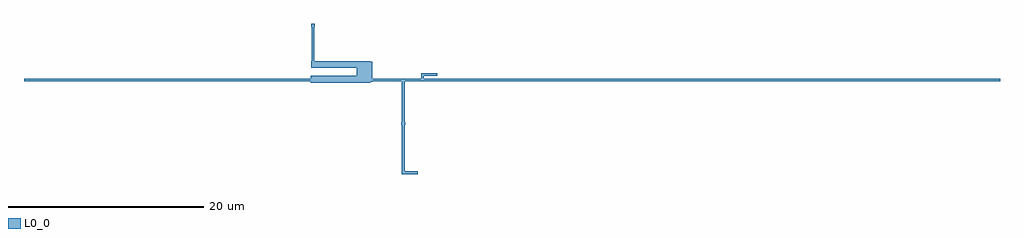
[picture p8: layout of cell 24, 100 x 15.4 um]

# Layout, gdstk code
import gdstk
lib = gdstk.Library(unit=1e-6, precision=1e-09)
def P(c, l, *ps):  # polygons
    for p in ps: c.add(gdstk.Polygon(p, *l))
L0_0 = (0, 0)

c_24 = lib.new_cell('24')
P(c_24, L0_0, [(938.66,988.26),(939.04,988.26),(939.04,987.98),(938.66,987.98),(938.66,988.26)],
  [(929.42,989.94),(929.8,989.94),(929.8,989.66),(929.42,989.66),(929.42,989.94)],
  [(929.36,988.53),(934.04,988.53),(934.04,988.54),(934.115,988.54),(934.115,989.34),(929.44,989.34),(929.44,990.02),(935.46,990.02),(935.46,990),(935.665,990),(935.665,987.92),(935.46,987.92),(935.46,987.85),(929.36,987.85),(929.36,988.53)],
  [(940.64,988.26),(941.02,988.26),(941.02,987.98),(940.64,987.98),(940.64,988.26)],
  [(935.55,988.235),(938.965,988.235),(938.965,988.005),(935.55,988.005),(935.55,988.235)],
  [(938.735,988.235),(940.945,988.235),(940.945,988.005),(938.735,988.005),(938.735,988.235)],
  [(940.64,988.26),(941.02,988.26),(941.02,987.98),(940.64,987.98),(940.64,988.26)],
  [(938.66,988.26),(939.04,988.26),(939.04,987.98),(938.66,987.98),(938.66,988.26)],
  [(938.735,988.235),(940.945,988.235),(940.945,988.005),(938.735,988.005),(938.735,988.235)],
  [(929.36,988.53),(934.04,988.53),(934.04,988.54),(934.115,988.54),(934.115,989.34),(929.44,989.34),(929.44,990.02),(935.46,990.02),(935.46,990),(935.665,990),(935.665,987.92),(935.46,987.92),(935.46,987.85),(929.36,987.85),(929.36,988.53)],
  [(929.42,989.94),(929.8,989.94),(929.8,989.66),(929.42,989.66),(929.42,989.94)],
  [(938.71,978.46),(938.71,983.78),(938.99,983.78),(938.99,978.46),(938.71,978.46)],
  [(938.66,983.78),(939.04,983.78),(939.04,983.5),(938.66,983.5),(938.66,983.78)],
  [(938.66,988.26),(939.04,988.26),(939.04,987.98),(938.66,987.98),(938.66,988.26)],
  [(939.98,978.74),(940.36,978.74),(940.36,978.46),(939.98,978.46),(939.98,978.74)],
  [(938.71,983.5),(938.71,988.26),(938.99,988.26),(938.99,983.5),(938.71,983.5)],
  [(938.71,978.74),(940.31,978.74),(940.31,978.46),(938.71,978.46),(938.71,978.74)],
  [(929.47,989.66),(929.47,993.86),(929.75,993.86),(929.75,989.66),(929.47,989.66)],
  [(929.42,989.94),(929.8,989.94),(929.8,989.66),(929.42,989.66),(929.42,989.94)],
  [(929.42,993.86),(929.8,993.86),(929.8,993.58),(929.42,993.58),(929.42,993.86)],
  [(940.64,988.26),(941.02,988.26),(941.02,987.98),(940.64,987.98),(940.64,988.26)],
  [(940.69,988.82),(942.29,988.82),(942.29,988.54),(940.69,988.54),(940.69,988.82)],
  [(940.69,987.98),(940.69,988.82),(940.97,988.82),(940.97,987.98),(940.69,987.98)],
  [(941.96,988.82),(942.34,988.82),(942.34,988.54),(941.96,988.54),(941.96,988.82)],
  [(940.64,988.26),(941.02,988.26),(941.02,987.98),(940.64,987.98),(940.64,988.26)],
  [(940.69,987.98),(940.69,988.82),(940.97,988.82),(940.97,987.98),(940.69,987.98)],
  [(1000,987.98),(902.41,987.98),(902.41,988.26),(1000,988.26),(1000,987.98)],
  [(900,988.26),(902.69,988.26),(902.69,987.98),(900,987.98),(900,988.26)],
  [(902.36,988.26),(902.74,988.26),(902.74,987.98),(902.36,987.98),(902.36,988.26)])

lib.write_gds('24.gds')
